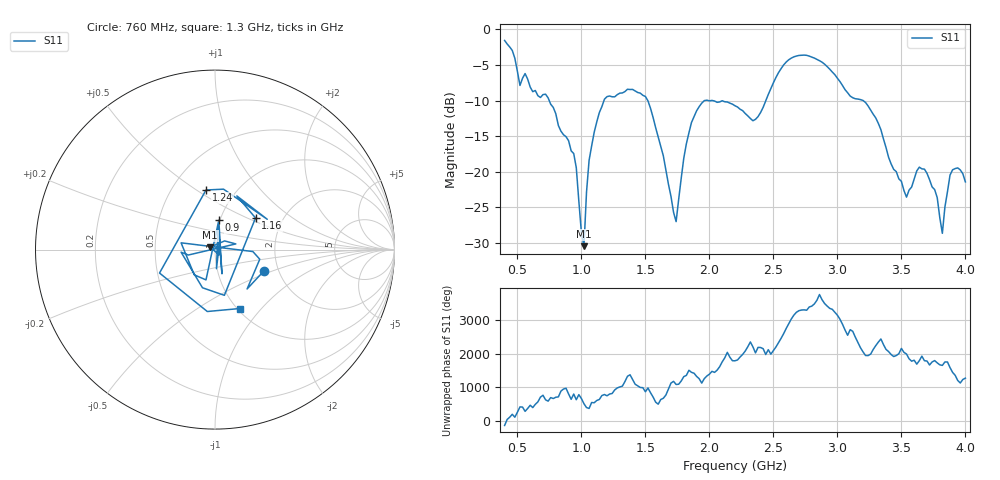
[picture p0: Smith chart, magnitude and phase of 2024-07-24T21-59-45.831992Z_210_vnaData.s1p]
!Created with skrf (http://scikit-rf.org).
# Hz S RI R 50.0
!freq ReS11 ImS11
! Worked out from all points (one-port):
!   181 points, 400 MHz to 4 GHz, reference 50 ohm
!   lowest |S11| = -30.4 dB at 1.02 GHz (marker M1), VSWR 1.06, Z = 47.3 + j1.23 ohm
!   |S11| at or under -10 dB: 748.3 MHz to 1.177 GHz (428.2 MHz wide, 44.5 % of centre); 1.518 GHz to 1.966 GHz (447.2 MHz wide, 25.7 % of centre); 3.201 GHz to end of sweep (the widest 3 of 5)
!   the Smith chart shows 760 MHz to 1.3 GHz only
!   S11 on the Smith chart (normalised r, x): 760 MHz: 1.68, -0.43; 900 MHz: 0.99, +0.33; 1.16 GHz: 1.46, +0.56; 1.24 GHz: 0.73, +0.55; 1.3 GHz: 1.03, -0.77
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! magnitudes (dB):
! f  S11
! 400 MHz  -1.6
! 520 MHz  -7.9
! 560 MHz  -6.2
! 760 MHz  -10.5
! 860 MHz  -14.8
! 900 MHz  -15.7
! 960 MHz  -19.4
! 1.02 GHz  -30.4
! 1.06 GHz  -18.4
! 1.16 GHz  -10.9
! 1.24 GHz  -9.5
! 1.3 GHz  -9.0
! 1.52 GHz  -10.1
! 1.74 GHz  -27.0
! 1.76 GHz  -23.9
! 1.82 GHz  -16.1
! 1.9 GHz  -11.4
! 2.2 GHz  -10.7
! 2.36 GHz  -12.6
! 2.66 GHz  -3.9
! 3.1 GHz  -9.4
! 3.3 GHz  -12.5
! 3.56 GHz  -22.6
! 3.68 GHz  -19.6
! 3.78 GHz  -23.6
! 3.82 GHz  -28.6
! 3.88 GHz  -20.5
! 4 GHz  -21.4
